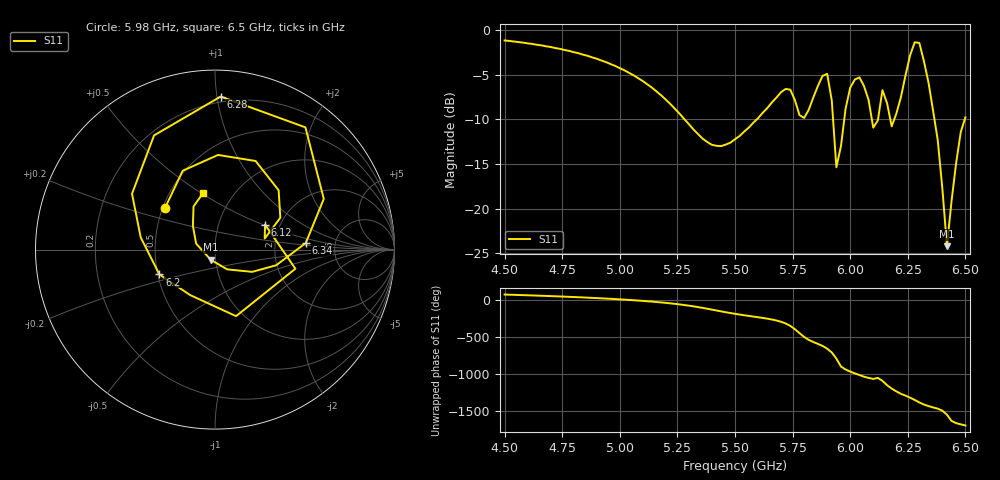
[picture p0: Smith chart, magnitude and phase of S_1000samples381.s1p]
! TOUCHSTONE file generated by CST MICROWAVE STUDIO
! Date and time: Thu Oct 27 23:33:09 2022
! Project name: L.cst
! Parameters = {Di=1.27; Epsilon_r=1.56; InnerDiameter=1.27; Length=2; Lf=10; Lg=60; OuterConductorThickness=0.2921; OuterDiameter=3.6; Wf=3; Wp=41.2; de=1.5; df=6.8; g=0.8; gx=3.21016; gy=2.61535; h=2.34; hf=1.524; px=13.6202; py=14.6493; w=9.7; wx=10.4101; wy=12.034}
! Header version: 2018
! Port assignment regex: !\s*Touchstone port\s*([0-9]+)\s*=\s*(CST MWS port|CST DS port)\s*([0-9]+|Zmin|Zmax)\s*\(\"(.*)\"\)(\s*mode\s*([0-9]+))?.*
! Touchstone port assignment:
! Touchstone port 1 = CST MWS port 1 ("")
# GHz S DB R 50
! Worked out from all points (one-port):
!   101 points, 4.5 GHz to 6.5 GHz, reference 50 ohm
!   lowest |S11| = -24.2 dB at 6.42 GHz (marker M1), VSWR 1.13, Z = 47.4 - j5.4 ohm
!   |S11| at or under -10 dB: 5.28 GHz to 5.595 GHz (314.7 MHz wide, 5.79 % of centre); 5.926 GHz to 5.974 GHz (48.69 MHz wide, 0.818 % of centre); 6.366 GHz to 6.497 GHz (131.7 MHz wide, 2.05 % of centre) (the widest 3 of 5)
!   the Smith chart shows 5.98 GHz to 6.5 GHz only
!   S11 on the Smith chart (normalised r, x): 5.98 GHz: 0.51, +0.28; 6.12 GHz: 1.67, +0.52; 6.2 GHz: 0.51, -0.16; 6.28 GHz: 0.16, +1.02; 6.34 GHz: 3.02, +0.30; 6.5 GHz: 0.73, +0.51
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4.5  -1.17 77.0
4.76  -2.24 48.5
5  -4.28 11.9
5.26  -9.39 -57.2
5.5  -12.24 175.4
5.62  -9.29 119.9
5.7  -6.96 67.8
5.74  -6.69 12.0
5.76  -7.85 -32.9
5.78  -9.54 -86.5
5.82  -8.94 -177.8
5.88  -5.14 100.4
5.9  -4.91 62.8
5.92  -7.88 11.6
5.94  -15.38 -72.0
5.98  -8.81 140.1
6  -6.47 112.3
6.06  -6.29 43.0
6.12  -10.13 26.7
6.14  -6.74 -13.4
6.16  -8.20 -72.4
6.2  -9.39 -155.9
6.26  -2.84 118.1
6.28  -1.38 87.9
6.3  -1.44 53.5
6.34  -5.90 4.1
6.42  -24.22 -112.6
6.5  -9.79 101.5
